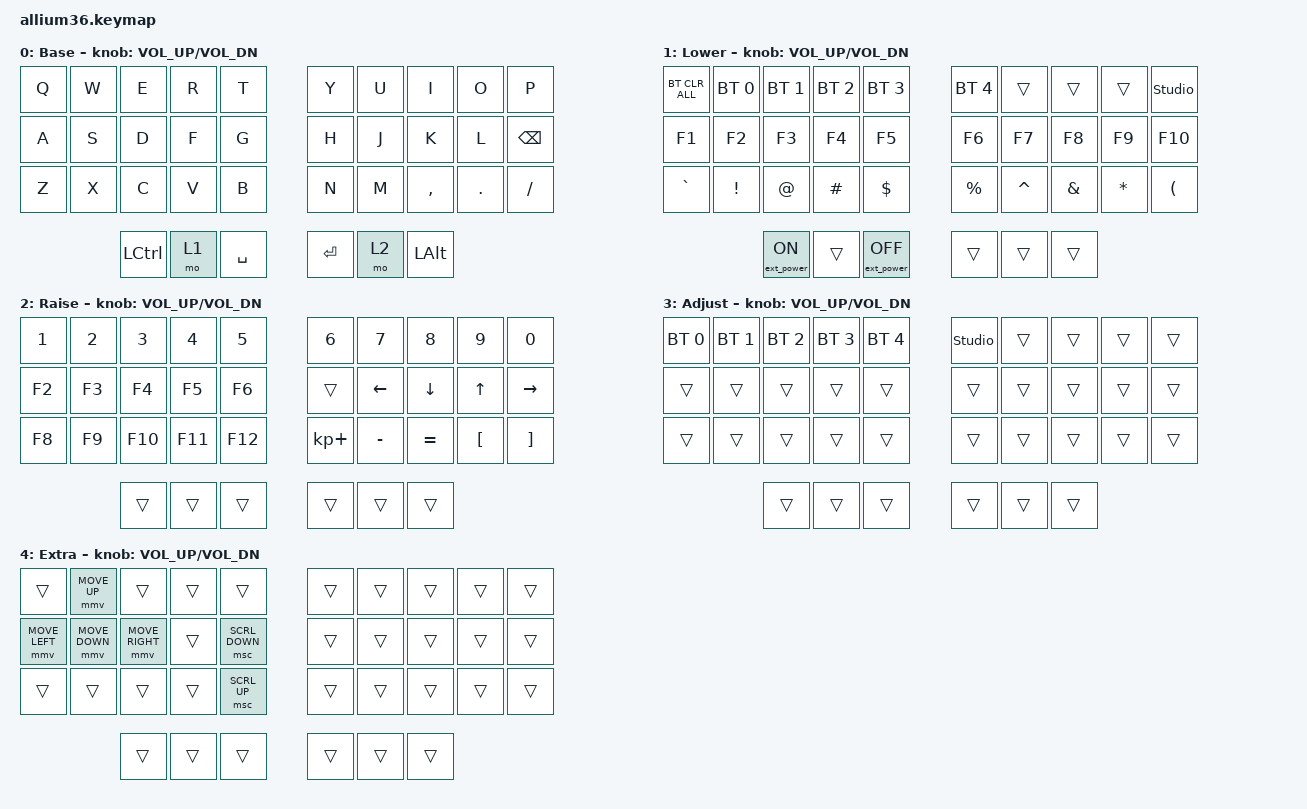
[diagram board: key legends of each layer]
/*
 * Copyright (c) 2024
 *
 * SPDX-License-Identifier: MIT
 */

#include <behaviors.dtsi>
#include <dt-bindings/zmk/keys.h>
#include <dt-bindings/zmk/bt.h>
#include <dt-bindings/zmk/ext_power.h>
#include <dt-bindings/zmk/pointing.h>

#define default_layer 0
#define lower_layer 1
#define raise_layer 2
#define adjust_layer 3
#define extra_layer 4


/ {
    keymap {
        compatible = "zmk,keymap";

        default_layer {
            display-name = "Base";

// 36-key = Lily58 minus the outer column and [ ] keys
// ---------------------------------------------------------------------------------------------
// |  Q  |  W  |  E  |  R  |  T  |                    |  Y  |  U  |  I  |  O  |  P  |
// |  A  |  S  |  D  |  F  |  G  |                    |  H  |  J  |  K  |  L  |BSPC |
// |  Z  |  X  |  C  |  V  |  B  |                    |  N  |  M  |  ,  |  .  |  /  |
//              | CTRL | LWR  | SPC  |          | RET  | RSE | ALT  |
            bindings = <
&kp Q   &kp W  &kp E  &kp R  &kp T            &kp Y  &kp U  &kp I  &kp O  &kp P
&kp A   &kp S  &kp D  &kp F  &kp G            &kp H  &kp J  &kp K  &kp L  &kp BSPC
&kp Z   &kp X  &kp C  &kp V  &kp B            &kp N  &kp M  &kp COMMA &kp DOT &kp FSLH
                 &kp LCTRL &mo 1  &kp SPACE   &kp RET &mo 2  &kp LALT
            >;

            sensor-bindings = <&inc_dec_kp C_VOL_UP C_VOL_DN>;
        };
        lower_layer {
            display-name = "Lower";
// ---------------------------------------------------------------------------------------------
// |BTCLR | BT0 | BT1 | BT2 | BT3 |                    | BT4 |      |      |      |UNLOCK|
// |  F1  |  F2 |  F3 |  F4 |  F5 |                    |  F6 |  F7  |  F8  |  F9  |  F10 |
// |  `   |  !  |  @  |  #  |  $  |                    |  %  |  ^   |  &   |  *   |  (   |
//              |EP_ON |      |EP_OFF |          |      |      |      |
            bindings = <
&bt BT_CLR_ALL &bt BT_SEL 0 &bt BT_SEL 1 &bt BT_SEL 2 &bt BT_SEL 3    &bt BT_SEL 4 &trans &trans &trans &studio_unlock
&kp F1         &kp F2       &kp F3       &kp F4       &kp F5          &kp F6    &kp F7    &kp F8    &kp F9    &kp F10
&kp GRAVE      &kp EXCL     &kp AT       &kp HASH     &kp DOLLAR      &kp PRCNT &kp CARET &kp AMPS  &kp ASTRK &kp LPAR
                &ext_power EP_ON &trans &ext_power EP_OFF              &trans &trans &trans
            >;

            sensor-bindings = <&inc_dec_kp C_VOL_UP C_VOL_DN>;
        };

        raise_layer {
            display-name = "Raise";
// ---------------------------------------------------------------------------------------------
// |  1   |  2   |  3   |  4   |  5   |                    |  6   |  7   |  8   |  9   |  0   |
// |  F2  |  F3  |  F4  |  F5  |  F6  |                    |      |  <-  |  v   |  ^   |  ->  |
// |  F8  |  F9  |  F10 |  F11 |  F12 |                    |  +   |  -   |  =   |  [   |  ]   |
//              |      |      |      |          |      |      |      |
            bindings = <
&kp N1 &kp N2 &kp N3 &kp N4 &kp N5          &kp N6 &kp N7 &kp N8 &kp N9 &kp N0
&kp F2 &kp F3 &kp F4 &kp F5 &kp F6          &trans &kp LEFT &kp DOWN &kp UP &kp RIGHT
&kp F8 &kp F9 &kp F10 &kp F11 &kp F12       &kp KP_PLUS &kp MINUS &kp EQUAL &kp LBKT &kp RBKT
           &trans &trans &trans              &trans &trans &trans
            >;

            sensor-bindings = <&inc_dec_kp C_VOL_UP C_VOL_DN>;
        };

        adjust_layer {
            display-name = "Adjust";
// ---------------------------------------------------------------------------------------------
// |  BT1 |  BT2 |  BT3 |  BT4 |  BT5 |                    |UNLOCK|      |      |      |      |
// |      |      |      |      |      |                    |      |      |      |      |      |
// |      |      |      |      |      |                    |      |      |      |      |      |
//              |      |      |      |          |      |      |      |
            bindings = <
&bt BT_SEL 0 &bt BT_SEL 1 &bt BT_SEL 2 &bt BT_SEL 3 &bt BT_SEL 4    &studio_unlock &trans &trans &trans &trans
&trans       &trans       &trans       &trans       &trans          &trans &trans &trans &trans &trans
&trans       &trans       &trans       &trans       &trans          &trans &trans &trans &trans &trans
                        &trans &trans &trans          &trans &trans &trans
            >;

            sensor-bindings = <&inc_dec_kp C_VOL_UP C_VOL_DN>;
        };

        extra_layer {
            display-name = "Extra";
// ---------------------------------------------------------------------------------------------
// |      | M_UP |      |      |      |                    |      |      |      |      |      |
// | M_LFT|M_DWN |M_RGT |      |SCL_DN|                    |      |      |      |      |      |
// |      |      |      |      |SCL_UP|                    |      |      |      |      |      |
//              |      |      |      |          |      |      |      |
            bindings = <
&trans    &mmv MOVE_UP &trans &trans &trans          &trans &trans &trans &trans &trans
&mmv MOVE_LEFT &mmv MOVE_DOWN &mmv MOVE_RIGHT &trans &msc SCRL_DOWN    &trans &trans &trans &trans &trans
&trans    &trans &trans &trans &msc SCRL_UP           &trans &trans &trans &trans &trans
                        &trans &trans &trans          &trans &trans &trans
            >;

            sensor-bindings = <&inc_dec_kp C_VOL_UP C_VOL_DN>;
        };
    };
};
